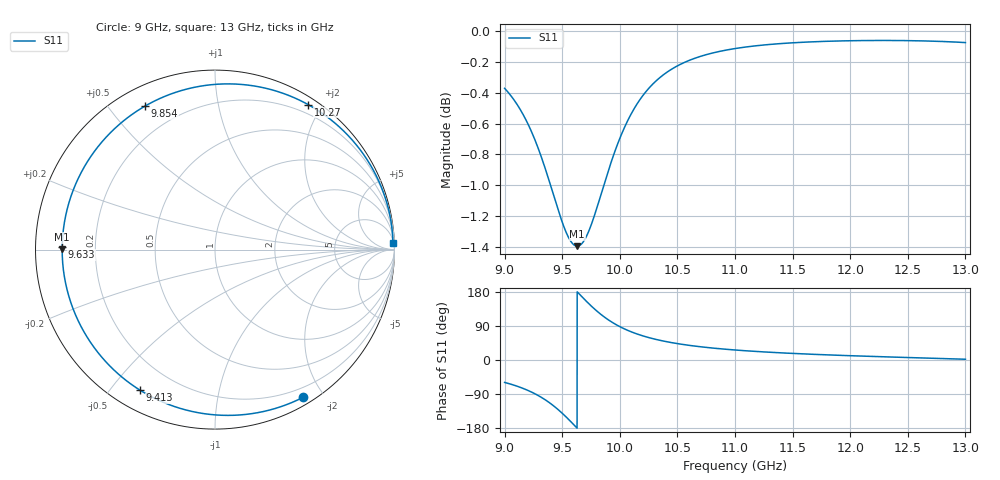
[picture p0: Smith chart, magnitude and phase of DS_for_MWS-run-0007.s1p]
! TOUCHSTONE file generated by CST DESIGN STUDIO
! Date and time: Tue Feb  4 14:00:18 2025
! Project name: C:\Work\MatlabApps\UnitCellOptimizationMatlab\CST\unitcell.cst
! Tree item: Tasks\Sweep1\SPara1\S-Parameters
! Header version: 2024
! Port assignment regex: !\s*Touchstone port\s*([0-9]+)\s*=\s*(CST MWS port|CST DES external port|CST DES block port)\s*(.+)\s* \(\"(.*)\"\)(\s*mode\s*([0-9]+))?.*
! Touchstone port assignment:
! Touchstone port 1 = CST DES external port 1 ("")
# GHz S MA R 50
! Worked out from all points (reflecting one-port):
!   4001 points, 9 GHz to 13 GHz, reference 50 ohm
!   lowest |S11| = -1.4 dB at 9.63 GHz (marker M1), VSWR 12.47, Z = 4.01 + j0.0366 ohm
!   phase of S11 starts at -59 deg and turns -299 deg over the sweep
!   S11 on the Smith chart (normalised r, x): 9 GHz: 0.09, -1.76; 9.413 GHz: 0.08, -0.60; 9.633 GHz: 0.08, +0.01; 9.854 GHz: 0.08, +0.62; 10.27 GHz: 0.09, +1.83; 13 GHz: 13, +54
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9  0.9582 -59.2
9.056  0.9527 -64.0
9.129  0.944 -71.3
9.256  0.9234 -88.0
9.34  0.9054 -102.5
9.413  0.8876 -118.1
9.457  0.8768 -128.9
9.5  0.867 -140.5
9.568  0.8554 -160.6
9.63  0.8516 179.9
9.633  0.8516 179.0
9.69  0.8551 161.0
9.752  0.8653 142.5
9.803  0.8768 128.6
9.854  0.8894 116.1
9.922  0.9061 101.7
10  0.923 88.0
10.064  0.9346 78.8
10.13  0.9445 70.8
10.274  0.9602 57.3
10.38  0.968 49.9
10.5  0.9744 43.2
10.72  0.9818 34.2
11  0.9871 26.4
11.5  0.9913 17.4
12  0.9929 11.3
12.5  0.9929 6.5
13  0.9915 2.0
